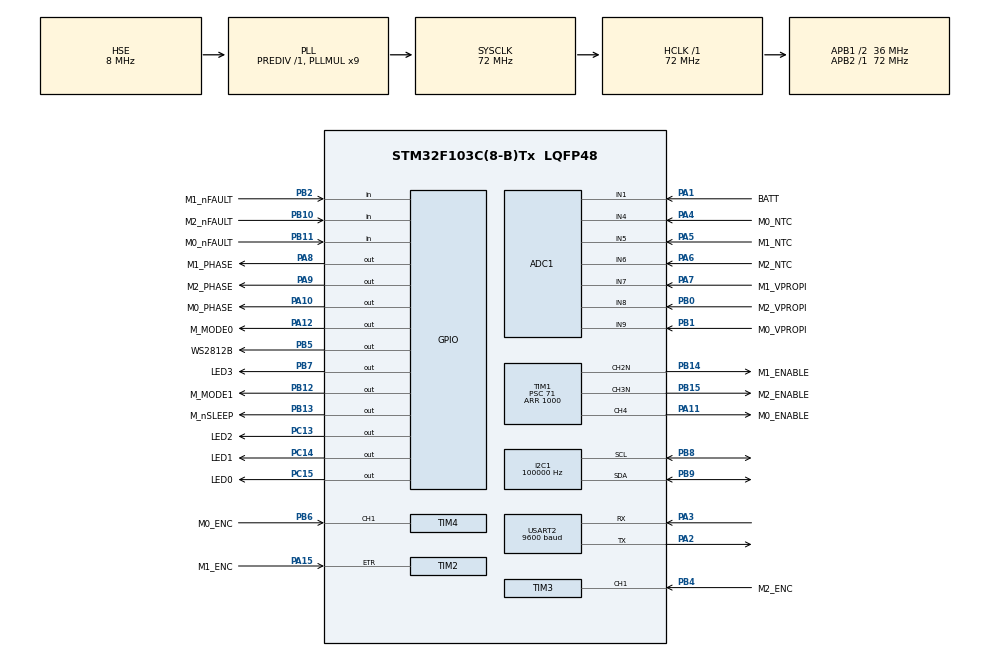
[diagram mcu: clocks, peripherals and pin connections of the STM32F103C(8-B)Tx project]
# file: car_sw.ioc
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Mcu.Family=STM32F1
PA11.GPIO_Speed=GPIO_SPEED_FREQ_HIGH
SH.S_TIM1_CH4.0=TIM1_CH4,PWM Generation4 CH4
PB10.GPIO_PuPd=GPIO_PULLUP
PA10.GPIO_PuPd=GPIO_PULLDOWN
TIM1.OCIdleState_4=TIM_OCIDLESTATE_RESET
PB14.GPIO_Label=M1_ENABLE
PA6.GPIO_Label=M2_NTC
PB0.GPIO_Label=M2_VPROPI
PB6.GPIO_Label=M0_ENC
PB11.GPIO_PuPd=GPIO_PULLUP
PB13.GPIO_Label=M_nSLEEP
PB11.Signal=GPIO_Input
PB13.Signal=GPIO_Output
PB15.Signal=TIM1_CH3N
PC15-OSC32_OUT.GPIO_Label=LED0
RCC.SYSCLKSource=RCC_SYSCLKSOURCE_PLLCLK
ProjectManager.StackSize=0x400
PD1-OSC_OUT.Signal=RCC_OSC_OUT
PA15.GPIO_Label=M1_ENC
PA12.Signal=GPIO_Output
TIM1.Prescaler=71
I2C1.ClockSpeed=100000
TIM1.Channel-PWM\ Generation4\ CH4=TIM_CHANNEL_4
RCC.HCLKFreq_Value=72000000
RCC.APB2TimFreq_Value=72000000
PB6.Signal=S_TIM4_CH1
VP_TIM3_VS_ControllerModeClock.Mode=Clock Mode
RCC.AHBFreq_Value=72000000
TIM1.OCFastMode_PWM-PWM\ Generation4\ CH4=TIM_OCFAST_ENABLE
PB2.Signal=GPIO_Input
RCC.PLLMUL=RCC_PLL_MUL9
PB12.GPIO_Label=M_MODE1
I2C1.NoStretchMode=I2C_NOSTRETCH_DISABLE
PA14.Mode=Serial_Wire
PB14.Mode=PWM Generation2 CH2N
PB1.GPIO_Label=M0_VPROPI
PA10.GPIO_Label=M0_PHASE
SH.ADCx_IN8.0=ADC1_IN8,IN8
PB7.Signal=GPIO_Output
PA8.Signal=GPIO_Output
SH.S_TIM3_CH1.0=TIM3_CH1,TriggerSource_TI1FP1
PC13-TAMPER-RTC.GPIO_Speed=GPIO_SPEED_FREQ_HIGH
PB2.GPIO_PuPd=GPIO_PULLUP
VP_TIM1_VS_ClockSourceINT.Mode=Internal
PC14-OSC32_IN.GPIO_Speed=GPIO_SPEED_FREQ_HIGH
PB7.GPIO_Label=LED3
Mcu.Package=LQFP48
PB9.Signal=I2C1_SDA
PB1.Signal=ADCx_IN9
PA6.Signal=ADCx_IN6
USART2.VirtualMode=VM_ASYNC
TIM1.OCFastMode_PWM-PWM\ Generation3\ CH3N=TIM_OCFAST_ENABLE
PC13-TAMPER-RTC.GPIO_PuPd=GPIO_PULLDOWN
PA10.Signal=GPIO_Output
PA15.Signal=S_TIM2_CH1_ETR
SH.ADCx_IN9.0=ADC1_IN9,IN9
PA10.GPIO_Speed=GPIO_SPEED_FREQ_HIGH
PB5.GPIO_Speed=GPIO_SPEED_FREQ_HIGH
TIM1.Channel-PWM\ Generation2\ CH2N=TIM_CHANNEL_2
SH.ADCx_IN1.0=ADC1_IN1,IN1
PB5.GPIO_Label=WS2812B
SH.S_TIM4_CH1.0=TIM4_CH1,TriggerSource_TI1FP1
RCC.APB1TimFreq_Value=72000000
PC14-OSC32_IN.GPIO_Label=LED1
PC15-OSC32_OUT.GPIO_Speed=GPIO_SPEED_FREQ_HIGH
TIM1.Period=1000
PA12.GPIO_PuPd=GPIO_PULLDOWN
PA4.GPIO_Label=M0_NTC
PA8.GPIO_Speed=GPIO_SPEED_FREQ_HIGH
PA12.GPIO_Speed=GPIO_SPEED_FREQ_HIGH
PB4.Signal=S_TIM3_CH1
PA3.Signal=USART2_RX
PB7.GPIO_Speed=GPIO_SPEED_FREQ_HIGH
TIM1.OCMode_PWM-PWM\ Generation4\ CH4=TIM_OCMODE_PWM1
PB7.GPIO_PuPd=GPIO_PULLDOWN
RCC.PLLSourceVirtual=RCC_PLLSOURCE_HSE
TIM1.OCPolarity_4=TIM_OCPOLARITY_HIGH
PD1-OSC_OUT.Mode=HSE-External-Oscillator
SH.ADCx_IN6.0=ADC1_IN6,IN6
TIM1.CounterMode=TIM_COUNTERMODE_UP
PA9.GPIO_Label=M2_PHASE
PB6.GPIO_PuPd=GPIO_PULLDOWN
PB11.GPIO_Label=M0_nFAULT
PC13-TAMPER-RTC.Signal=GPIO_Output
PA11.GPIO_Label=M0_ENABLE
PD0-OSC_IN.Signal=RCC_OSC_IN
RCC.APB1CLKDivider=RCC_HCLK_DIV2
PC14-OSC32_IN.Signal=GPIO_Output
PA9.GPIO_PuPd=GPIO_PULLDOWN
VP_TIM4_VS_ControllerModeClock.Mode=Clock Mode
USART2.BaudRate=9600
PA12.GPIO_Label=M_MODE0
RCC.ADCPresc=RCC_ADCPCLK2_DIV6
PA3.Mode=Asynchronous
PA13.Signal=SYS_JTMS-SWDIO
TIM1.AutoReloadPreload=TIM_AUTORELOAD_PRELOAD_ENABLE
PA8.GPIO_Label=M1_PHASE
ProjectManager.TargetToolchain=STM32CubeIDE
PB14.GPIO_Speed=GPIO_SPEED_FREQ_HIGH
PB10.GPIO_Label=M2_nFAULT
SH.ADCx_IN7.0=ADC1_IN7,IN7
PB9.Mode=I2C
PA9.Signal=GPIO_Output
ADC1.Channel-1\#ChannelRegularConversion=ADC_CHANNEL_1
PB13.GPIO_Speed=GPIO_SPEED_FREQ_HIGH
RCC.USBFreq_Value=72000000
TIM1.Channel-PWM\ Generation3\ CH3N=TIM_CHANNEL_3
PC15-OSC32_OUT.Signal=GPIO_Output
PA1.Signal=ADCx_IN1
PB12.GPIO_Speed=GPIO_SPEED_FREQ_HIGH
PD0-OSC_IN.Mode=HSE-External-Oscillator
PB10.Signal=GPIO_Input
TIM1.Pulse-PWM\ Generation3\ CH3N=500
PB14.Signal=TIM1_CH2N
PA5.Signal=ADCx_IN5
TIM1.OCFastMode_PWM-PWM\ Generation2\ CH2N=TIM_OCFAST_ENABLE
board=custom
TIM1.Pulse-PWM\ Generation2\ CH2N=500
PC13-TAMPER-RTC.GPIO_Label=LED2
PB15.Mode=PWM Generation3 CH3N
PB13.GPIO_PuPd=GPIO_PULLUP
RCC.APB2Freq_Value=72000000
PB13.PinState=GPIO_PIN_RESET
PB4.GPIO_Label=M2_ENC
PB15.GPIO_Label=M2_ENABLE
PB15.GPIO_Speed=GPIO_SPEED_FREQ_HIGH
PA1.GPIO_Label=BATT
SH.ADCx_IN4.0=ADC1_IN4,IN4
PC15-OSC32_OUT.GPIO_PuPd=GPIO_PULLDOWN
TIM1.BreakPolarity=TIM_BREAKPOLARITY_HIGH
PA13.Mode=Serial_Wire
Mcu.Name=STM32F103C(8-B)Tx
PA2.Signal=USART2_TX
I2C1.OwnAddress=0
PA4.Signal=ADCx_IN4
ADC1.SamplingTime-1\#ChannelRegularConversion=ADC_SAMPLETIME_1CYCLE_5
RCC.SYSCLKFreq_VALUE=72000000
PB5.Signal=GPIO_Output
PA7.GPIO_Label=M1_VPROPI
ADC1.master=1
PA5.GPIO_Label=M1_NTC
PB5.GPIO_PuPd=GPIO_PULLDOWN
ADC1.Rank-1\#ChannelRegularConversion=1
PA11.Signal=S_TIM1_CH4
SH.S_TIM2_CH1_ETR.0=TIM2_ETR,ClockSourceETR_Mode2
PA14.Signal=SYS_JTCK-SWCLK
PB2.GPIO_Label=M1_nFAULT
ProjectManager.HeapSize=0x200
TIM1.Pulse-PWM\ Generation4\ CH4=500
PA8.GPIO_PuPd=GPIO_PULLDOWN
SH.ADCx_IN5.0=ADC1_IN5,IN5
NVIC.PriorityGroup=NVIC_PRIORITYGROUP_4
ADC1.NbrOfConversionFlag=1
PB8.Mode=I2C
PA2.Mode=Asynchronous
PA9.GPIO_Speed=GPIO_SPEED_FREQ_HIGH
PB8.Signal=I2C1_SCL
PC14-OSC32_IN.GPIO_PuPd=GPIO_PULLDOWN
PB12.GPIO_PuPd=GPIO_PULLDOWN
RCC.APB1Freq_Value=36000000
PB0.Signal=ADCx_IN8
PB12.Signal=GPIO_Output
PA7.Signal=ADCx_IN7

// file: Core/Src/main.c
/* USER CODE BEGIN Header */
/**
 ******************************************************************************
 * @file           : main.c
 * @brief          : Main program body
 ******************************************************************************
 * @attention
 *
 * <h2><center>&copy; Copyright (c) 2021 STMicroelectronics.
 * All rights reserved.</center></h2>
 *
 * This software component is licensed by ST under BSD 3-Clause license,
 * the "License"; You may not use this file except in compliance with the
 * License. You may obtain a copy of the License at:
 *                        opensource.org/licenses/BSD-3-Clause
 *
 ******************************************************************************
 */
/* USER CODE END Header */
#include "main.h"
#include "adc.h"
#include "i2c.h"
#include "tim.h"
#include "usart.h"
#include "gpio.h"
#include "math.h"

/* USER CODE BEGIN Includes */
#include <stdio.h>
#include "SSD1306.h"
#include "WS2812B.h"
#include "MPU6050.h"
#include "motion.h"

/* USER CODE END Includes */

/* USER CODE BEGIN PV */
uint8_t RGBs[3 * 6];
/* USER CODE END PV */

void SystemClock_Config(void);

/* USER CODE BEGIN 0 */
struct MPU6050 m_mpu6050_readData(uint8_t *buffer) {
	// get raw readings

	int16_t rawAccX = buffer[0] << 8 | buffer[1];
	int16_t rawAccY = buffer[2] << 8 | buffer[3];
	int16_t rawAccZ = buffer[4] << 8 | buffer[5];

	int16_t rawGyroX = buffer[8] << 8 | buffer[9];
	int16_t rawGyroY = buffer[10] << 8 | buffer[11];
	int16_t rawGyroZ = buffer[12] << 8 | buffer[13];

	float accel_scale = 16384;
	// setup range dependent scaling
	float accX = ((float) rawAccX) / accel_scale;
	float accY = ((float) rawAccY) / accel_scale;
	float accZ = ((float) rawAccZ) / accel_scale;

	float gyro_scale = 65.5;

	float gyroX = ((float) rawGyroX) / gyro_scale;
	float gyroY = ((float) rawGyroY) / gyro_scale;
	float gyroZ = ((float) rawGyroZ) / gyro_scale;

	struct MPU6050 received_mpu;
	received_mpu.accX = accX;
	received_mpu.accY = accY;
	received_mpu.accZ = accZ;
	received_mpu.gyroX = gyroX;
	received_mpu.gyroY = gyroY;
	received_mpu.gyroZ = gyroZ;

	return received_mpu;
}

/* USER CODE END 0 */

int main(void) {
	/* USER CODE BEGIN 1 */
	RGBs[0] = 0;
	RGBs[1] = 0;
	RGBs[2] = 255;

	RGBs[3] = 0;
	RGBs[4] = 255;
	RGBs[5] = 0;

	RGBs[6] = 255;
	RGBs[7] = 0;
	RGBs[8] = 0;

	/* USER CODE END 1 */

	/* MCU Configuration--------------------------------------------------------*/

	/* Reset of all peripherals, Initializes the Flash interface and the Systick. */
	HAL_Init();

	/* Configure the system clock */
	SystemClock_Config();

	/* Initialize all configured peripherals */
	MX_GPIO_Init();
	MX_ADC1_Init();
	MX_I2C1_Init();
	MX_TIM1_Init();
	MX_USART2_UART_Init();
	MX_TIM2_Init();
	MX_TIM3_Init();
	MX_TIM4_Init();
	/* USER CODE BEGIN 2 */

	ssd1306_begin(&hi2c1);

	mpu6050_begin(&hi2c1);
	drv8801_begin(&htim1, &htim2, &htim4, &htim3);

	uint8_t grb[] = { 0xff, 0x00, 0x00 };
	uint32_t last_tick = HAL_GetTick();

	/* motor test code */
	if (0) {
		setPower(0, 1000);
		setPower(1, 1000);
		setPower(2, 1000);

		{
			setDirection(0, 0);
			setDirection(1, 0);
			setDirection(2, 0);
			HAL_Delay(2000);
		}
		{
			setDirection(0, 1);
			setDirection(1, 1);
			setDirection(2, 1);
			HAL_Delay(2000);
		}

		{
			setPower(0, 0);
			setDirection(1, 0);
			setDirection(2, 1);
			HAL_Delay(2000);
		}
		{
			setPower(0, 0);
			setDirection(1, 1);
			setDirection(2, 0);
			HAL_Delay(2000);
		}
	}

	setDirection(0, 0);
	setDirection(1, 1);

//	setPower(0, 700);
//	setPower(1, 700);
//	setPower(2, 0);

	/* USER CODE END 2 */

	/* Infinite loop */
	/* USER CODE BEGIN WHILE */
	int last_x_count = 0;
	uint8_t MPU_real_buffer[14];
	int count = 0;
//	struct MPU6050 received_mpu;

//	float AccErrorX = 0;
//	float AccErrorY = 0;
//	float GyroErrorX = 0;
//	float GyroErrorY = 0;
//	float GyroErrorZ = 0;

	float AccErrorX = -2.51f;
	float AccErrorY = -4.57f;
	float GyroErrorX = 0.87f;
	float GyroErrorY = 2.89f;
	float GyroErrorZ = -4.93;

	float gyroAngleX = 0; // deg/s * s = deg
	float gyroAngleY = 0;

	float roll = 0;
	float pitch = 0;
	float yaw = 0;

	float recorded_roll = 0;
	float recorded_pitch = 0;
	float recorded_yaw = 0;

	uint8_t UART2_rxBuffer[3];
	uint32_t last_RGB_tick = 0;

	uint8_t color_count = 0;
	while (1) {
		HAL_GPIO_TogglePin(LED0_GPIO_Port, LED0_Pin);
//		HAL_GPIO_TogglePin(LED1_GPIO_Port, LED1_Pin);
//		HAL_GPIO_TogglePin(LED2_GPIO_Port, LED2_Pin);
//		HAL_GPIO_TogglePin(LED3_GPIO_Port, LED3_Pin);

//		writeRGB(grb);
//		writeRGB(grb);
//		writeRGB(grb);
//		writeRGB(grb);
//		writeRGB(grb);
//		writeRGB(grb);

//		grb[2] += 16;
//		grb[1] += 16;

//		mpu6050_readData();
//
		uint8_t c[20];

		clearDisplay();

		uint8_t UART2_rx;
		static uint8_t uart2_count = 0;

//		mpu6050_readData();
		uint8_t calibrate_error = 1;

//		static int encoder_counter = -1;
//
//		if (HAL_UART_Receive(&huart2, &UART2_rxBuffer, 1, 100) == HAL_OK) {
//			drawString(0, 24, &UART2_rxBuffer, 1, SSD1306_WHITE, SSD1306_BLACK);
//			switch (UART2_rxBuffer) {
//			case 'W': {
//				move(MOTION_FORWARD);
//				break;
//			}
//			case 'A': {
//				move(MOTION_TRANSLATE_LEFT);
//				break;
//			}
//			case 'S': {
//				move(MOTION_BACKWARD);
//				break;
//			}
//			case 'D': {
//				move(MOTION_TRANSLATE_RIGHT);
//				break;
//			}
//			case 'Q': {
//				move(MOTION_ROTATE_LEFT);
//				break;
//			}
//			case 'E': {
//				move(MOTION_ROTATE_RIGHT);
//				break;
//			}
//			case 'K': {
//				move(MOTION_STOP);
//				break;
//			}
//
//			}
//		}

		uint8_t MPU_buffer[43];
		if (HAL_UART_Receive(&huart2, MPU_buffer, 43, 1000) == HAL_OK) {
			uint8_t i = 0;
			for (; i < 43 - 16; ++i) {
				if (MPU_buffer[i] == '1' && MPU_buffer[i + 1] == '2'
						&& MPU_buffer[i + 2] == '3') {
					struct MPU6050 received_mpu = m_mpu6050_readData(
							MPU_buffer + i + 3);
					uint8_t is_pressing = MPU_buffer[i + 3 + 14];
					static uint8_t was_pressing = 0;

					sprintf(c, "pres %u     ", is_pressing);
					drawString(60, 8, c, 9, SSD1306_WHITE, SSD1306_BLACK);
//					sprintf(c, "%f      ", received_mpu.accX);
//					drawString(0, 0, c, 9, SSD1306_WHITE, SSD1306_BLACK);
//					sprintf(c, "%f      ", received_mpu.accY);
//					drawString(0, 8, c, 9, SSD1306_WHITE, SSD1306_BLACK);
//					sprintf(c, "%f      ", received_mpu.accZ);
//					drawString(0, 16, c, 9, SSD1306_WHITE, SSD1306_BLACK);

					uint8_t calibrate_error = 0;

					//source: https://howtomechatronics.com/tutorials/arduino/arduino-and-mpu6050-accelerometer-and-gyroscope-tutorial/

					if (calibrate_error) {
						if (count < 200) {
							AccErrorX =
									AccErrorX
											+ ((atan(
													(received_mpu.accY)
															/ sqrt(
																	pow(
																			(received_mpu.accX),
																			2)
																			+ pow(
																					(received_mpu.accZ),
																					2)))
													* 180 / M_PI));
							AccErrorY =
									AccErrorY
											+ ((atan(
													-1 * (received_mpu.accX)
															/ sqrt(
																	pow(
																			(received_mpu.accY),
																			2)
																			+ pow(
																					(received_mpu.accZ),
																					2)))
													* 180 / M_PI));
							GyroErrorX = GyroErrorX + received_mpu.gyroX;
							GyroErrorY = GyroErrorY + received_mpu.gyroY;
							GyroErrorZ = GyroErrorZ + received_mpu.gyroZ;
							count++;

							sprintf(c, "%f      ", AccErrorX / count);
							drawString(0, 0, c, 9, SSD1306_WHITE,
							SSD1306_BLACK);
							sprintf(c, "%f      ", AccErrorY / count);
							drawString(0, 8, c, 9, SSD1306_WHITE,
							SSD1306_BLACK);
							sprintf(c, "%f      ", GyroErrorX / count);
							drawString(0, 16, c, 9, SSD1306_WHITE,
							SSD1306_BLACK);
							sprintf(c, "%f      ", GyroErrorY / count);
							drawString(0, 24, c, 9, SSD1306_WHITE,
							SSD1306_BLACK);
							sprintf(c, "%f      ", GyroErrorZ / count);
							drawString(60, 0, c, 9, SSD1306_WHITE,
							SSD1306_BLACK);
							sprintf(c, "%d      ", count);
							drawString(60, 8, c, 9, SSD1306_WHITE,
							SSD1306_BLACK);
							if (count == 200) {
								HAL_Delay(1000000);
							}
						}
					} else {
						float accAngleX =
								((atan(
										(received_mpu.accY)
												/ sqrt(
														pow((received_mpu.accX),
																2)
																+ pow(
																		(received_mpu.accZ),
																		2)))
										* 180 / M_PI)) - AccErrorX;

						float accAngleY =
								((atan(
										-1 * (received_mpu.accX)
												/ sqrt(
														pow((received_mpu.accY),
																2)
																+ pow(
																		(received_mpu.accZ),
																		2)))
										* 180 / M_PI)) - AccErrorY;

						float GyroX = received_mpu.gyroX - GyroErrorX;
						float GyroY = received_mpu.gyroY - GyroErrorY;
						float GyroZ = received_mpu.gyroZ - GyroErrorZ;
						// Currently the raw values are in degrees per seconds, deg/s, so we need to multiply by sendonds (s) to get the angle in degrees
						static uint32_t last_MPU_tick = 0;
						uint32_t MPU_tick = HAL_GetTick();
						float elapsedTime = ((float) (MPU_tick - last_MPU_tick))
								/ 1000.0f;
						if (last_MPU_tick != 0) {

							gyroAngleX = gyroAngleX + GyroX * elapsedTime; // deg/s * s = deg
							gyroAngleY = gyroAngleY + GyroY * elapsedTime;
							yaw = yaw + GyroZ * elapsedTime;
							roll = 0.96 * gyroAngleX + 0.04 * accAngleX;
							pitch = 0.96 * gyroAngleY + 0.04 * accAngleY;
						}
						last_MPU_tick = MPU_tick;

						if (is_pressing && !was_pressing) {
							recorded_roll = roll;
							recorded_pitch = pitch;
							recorded_yaw = yaw;
						}
						if (is_pressing) {
							float dr = roll - recorded_roll;
							float dp = pitch - recorded_pitch;
							float dy = yaw - recorded_yaw;

							sprintf(c, "r:%f      ", dr);
							drawString(0, 0, c, 9, SSD1306_WHITE,
							SSD1306_BLACK);
							sprintf(c, "p:%f      ", dp);
							drawString(0, 8, c, 9, SSD1306_WHITE,
							SSD1306_BLACK);
							sprintf(c, "y:%f      ", dy);
							drawString(0, 16, c, 9, SSD1306_WHITE,
							SSD1306_BLACK);

							if ((fabs(dr) - fabs(dp) > 20)
									&& (fabs(dr) - fabs(dy) > 20)) {
								if (dr > 0) {
									move(MOTION_FORWARD);
									sprintf(c, "forward  ");
									drawString(60, 0, c, 9, SSD1306_WHITE,
									SSD1306_BLACK);

									if (HAL_GetTick() - last_RGB_tick > 100) {
										last_RGB_tick = HAL_GetTick();
										uint8_t c[] = { 255, 0, 0 };
										for (uint8_t i = 0; i < 3 * 6; i += 3) {
											writeRGB(c);
										}
									}
								} else {
									move(MOTION_BACKWARD);
									sprintf(c, "back  ");
									drawString(60, 0, c, 9, SSD1306_WHITE,
									SSD1306_BLACK);

									if (HAL_GetTick() - last_RGB_tick > 100) {
										last_RGB_tick = HAL_GetTick();
										uint8_t c[] = { 0, 255, 0 };
										for (uint8_t i = 0; i < 3 * 6; i += 3) {
											writeRGB(c);
										}
									}
								}
							} else if ((fabs(dp) - fabs(dr) > 50)
									&& (fabs(dp) - fabs(dy) > 50)) {
								if (dp > 0) {
									move(MOTION_ROTATE_LEFT);
									sprintf(c, "left  ");
									drawString(60, 0, c, 9, SSD1306_WHITE,
									SSD1306_BLACK);

									if (HAL_GetTick() - last_RGB_tick > 20) {
										color_count = (color_count + 17) % 18;
										last_RGB_tick = HAL_GetTick();
										uint8_t R[] = { 255, 0, 0 };
										uint8_t G[] = { 0, 255, 0 };
										uint8_t B[] = { 0, 0, 255 };
										uint8_t C[] = { 0, 0, 0 };

										for (uint8_t i = 0; i < 3 * 6; i += 3) {
											if ((color_count % 6) * 3 == i
													|| (color_count + 1 % 6) * 3
															== i) {
												if (color_count < 6) {
													writeRGB(R);
												} else if (color_count < 12) {
													writeRGB(G);
												} else if (color_count < 18) {
													writeRGB(B);
												}

											} else {
												writeRGB(C);
												//												writeRGB(R);
											}
										}

									}

								} else {
									sprintf(c, "right  ");
									drawString(60, 0, c, 9, SSD1306_WHITE,
									SSD1306_BLACK);
									move(MOTION_ROTATE_RIGHT);

									if (HAL_GetTick() - last_RGB_tick > 20) {
										color_count = (color_count + 1) % 18;
										last_RGB_tick = HAL_GetTick();
										uint8_t R[] = { 255, 0, 0 };
										uint8_t G[] = { 0, 255, 0 };
										uint8_t B[] = { 0, 0, 255 };
										uint8_t C[] = { 0, 0, 0 };

										for (uint8_t i = 0; i < 3 * 6; i += 3) {
											if ((color_count % 6) * 3 == i
													|| (color_count + 1 % 6) * 3
															== i) {
												if (color_count < 6) {
													writeRGB(R);
												} else if (color_count < 12) {
													writeRGB(G);
												} else if (color_count < 18) {
													writeRGB(B);
												}

											} else {
												writeRGB(C);
											}
										}

									}
								}
							} else if ((fabs(dy) - fabs(dr) > 20)
									&& (fabs(dy) - fabs(dp) > 20)) {
								if (dr > 0) {
									sprintf(c, "T_L  ");
									drawString(60, 0, c, 9, SSD1306_WHITE,
									SSD1306_BLACK);
									move(MOTION_TRANSLATE_LEFT);

									if (HAL_GetTick() - last_RGB_tick > 100) {
										last_RGB_tick = HAL_GetTick();
										uint8_t c[] = { 255, 255, 0 };
										for (uint8_t i = 0; i < 3 * 6; i += 3) {
											writeRGB(c);
										}
									}
								} else {
									sprintf(c, "T_R  ");
									drawString(60, 0, c, 9, SSD1306_WHITE,
									SSD1306_BLACK);
									move(MOTION_TRANSLATE_RIGHT);

									if (HAL_GetTick() - last_RGB_tick > 100) {
										last_RGB_tick = HAL_GetTick();
										uint8_t c[] = { 0, 255, 255 };
										for (uint8_t i = 0; i < 3 * 6; i += 3) {
											writeRGB(c);
										}
									}
								}

							} else {
								move(MOTION_STOP);
//								if (HAL_GetTick() - last_RGB_tick > 20) {
//									last_RGB_tick = HAL_GetTick();
//
//									float smoothness_pts = 600;//larger=slower change in brightness
//
//									float gamma = 0.14; // affects the width of peak (more or less darkness)
//									float beta = 0.5; // shifts the gaussian to be symmetric
//									float ii = (last_RGB_tick / 10) % 600;
//									float pwm_val = 255.0*(exp(-(pow(((ii/smoothness_pts)-beta)/gamma,2.0))/2.0));
//
//									uint8_t c[] = { pwm_val, pwm_val, pwm_val };
//									for (uint8_t i = 0; i < 3 * 6; i += 3) {
//										writeRGB(c);
//									}
//								}
							}

						} else {
							move(MOTION_STOP);

							if (HAL_GetTick() - last_RGB_tick > 20) {
								last_RGB_tick = HAL_GetTick();

								float smoothness_pts = 600; //larger=slower change in brightness

								float gamma = 0.14; // affects the width of peak (more or less darkness)
								float beta = 0.5; // shifts the gaussian to be symmetric
								float ii = (last_RGB_tick / 10) % 600;
								float pwm_val = 255.0
										* (exp(
												-(pow(
														((ii / smoothness_pts)
																- beta) / gamma,
														2.0)) / 2.0));

								uint8_t c[] = { pwm_val, pwm_val, pwm_val };
								for (uint8_t i = 0; i < 3 * 6; i += 3) {
									writeRGB(c);
								}
							}

						}

						was_pressing = is_pressing;

						sprintf(c, "s:%f      ", MPU_tick / 1000.0f);
						drawString(60, 16, c, 9, SSD1306_WHITE,
						SSD1306_BLACK);

					}

					break;
				} else {
				}
			}
			if (i == 37) {
				sprintf(c, "Not OK!", i);
				drawString(0, 16, c, 9, SSD1306_WHITE, SSD1306_BLACK);
			}

		} else {
			sprintf(c, "no 37 buffer");
			drawString(0, 24, c, 9, SSD1306_WHITE, SSD1306_BLACK);
		}
		MotorUpdate();
		display();

		/* USER CODE END WHILE */

	}
}

void SystemClock_Config(void) {
	RCC_OscInitTypeDef RCC_OscInitStruct = { 0 };
	RCC_ClkInitTypeDef RCC_ClkInitStruct = { 0 };
	RCC_PeriphCLKInitTypeDef PeriphClkInit = { 0 };

	/** Initializes the RCC Oscillators according to the specified parameters
	 * in the RCC_OscInitTypeDef structure.
	 */
	RCC_OscInitStruct.OscillatorType = RCC_OSCILLATORTYPE_HSE;
	RCC_OscInitStruct.HSEState = RCC_HSE_ON;
	RCC_OscInitStruct.HSEPredivValue = RCC_HSE_PREDIV_DIV1;
	RCC_OscInitStruct.HSIState = RCC_HSI_ON;
	RCC_OscInitStruct.PLL.PLLState = RCC_PLL_ON;
	RCC_OscInitStruct.PLL.PLLSource = RCC_PLLSOURCE_HSE;
	RCC_OscInitStruct.PLL.PLLMUL = RCC_PLL_MUL9;
	if (HAL_RCC_OscConfig(&RCC_OscInitStruct) != HAL_OK) {
		Error_Handler();
	}
	/** Initializes the CPU, AHB and APB buses clocks
	 */
	RCC_ClkInitStruct.ClockType = RCC_CLOCKTYPE_HCLK | RCC_CLOCKTYPE_SYSCLK
			| RCC_CLOCKTYPE_PCLK1 | RCC_CLOCKTYPE_PCLK2;
	RCC_ClkInitStruct.SYSCLKSource = RCC_SYSCLKSOURCE_PLLCLK;
	RCC_ClkInitStruct.AHBCLKDivider = RCC_SYSCLK_DIV1;
	RCC_ClkInitStruct.APB1CLKDivider = RCC_HCLK_DIV2;
	RCC_ClkInitStruct.APB2CLKDivider = RCC_HCLK_DIV1;

	if (HAL_RCC_ClockConfig(&RCC_ClkInitStruct, FLASH_LATENCY_2) != HAL_OK) {
		Error_Handler();
	}
	PeriphClkInit.PeriphClockSelection = RCC_PERIPHCLK_ADC;
	PeriphClkInit.AdcClockSelection = RCC_ADCPCLK2_DIV6;
	if (HAL_RCCEx_PeriphCLKConfig(&PeriphClkInit) != HAL_OK) {
		Error_Handler();
	}
}

void Error_Handler(void) {
	__disable_irq();
	while (1) {
	}
}

/************************ (C) COPYRIGHT STMicroelectronics *****END OF FILE****/
